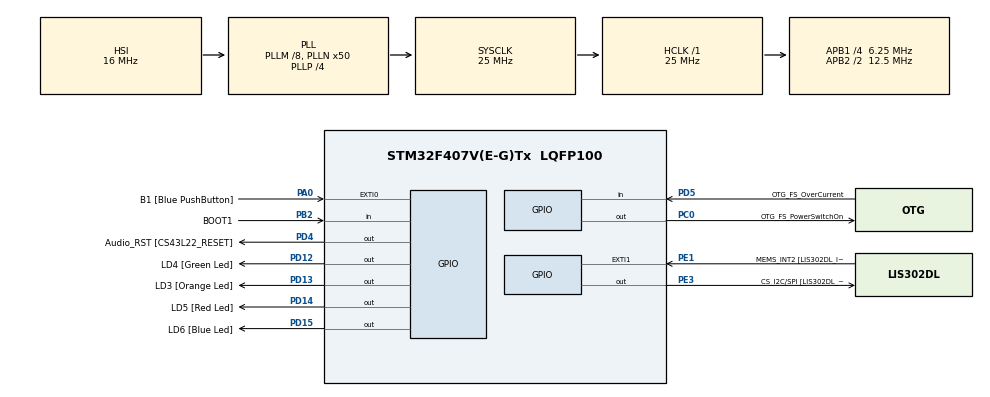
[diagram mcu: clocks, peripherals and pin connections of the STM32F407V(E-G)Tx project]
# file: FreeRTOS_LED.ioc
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Mcu.Family=STM32F4
Mcu.Name=STM32F407V(E-G)Tx
Mcu.Package=LQFP100
NVIC.PriorityGroup=NVIC_PRIORITYGROUP_4
NVIC.TIM5_IRQn=true\:0\:0\:false\:false\:true\:false\:true\:true
NVIC.TimeBase=TIM5_IRQn
NVIC.TimeBaseIP=TIM5
PA0-WKUP.GPIO_Label=B1 [Blue PushButton]
PA0-WKUP.Signal=GPXTI0
PA10.GPIO_Label=OTG_FS_ID
PA10.GPIO_Mode=GPIO_MODE_AF_PP
PA10.GPIO_PuPd=GPIO_NOPULL
PA10.GPIO_Speed=GPIO_SPEED_FREQ_LOW
PA10.Signal=USB_OTG_FS_ID
PA11.GPIO_Label=OTG_FS_DM
PA11.GPIO_Mode=GPIO_MODE_AF_PP
PA11.GPIO_PuPd=GPIO_NOPULL
PA11.GPIO_Speed=GPIO_SPEED_FREQ_LOW
PA11.Signal=USB_OTG_FS_DM
PA12.GPIO_Label=OTG_FS_DP
PA12.GPIO_Mode=GPIO_MODE_AF_PP
PA12.GPIO_PuPd=GPIO_NOPULL
PA12.GPIO_Speed=GPIO_SPEED_FREQ_LOW
PA12.Signal=USB_OTG_FS_DP
PA13.GPIO_Label=SWDIO
PA13.Signal=SYS_JTMS-SWDIO
PA14.GPIO_Label=SWCLK
PA14.Signal=SYS_JTCK-SWCLK
PA4.GPIO_Label=I2S3_WS [CS43L22_LRCK]
PA4.GPIO_Mode=GPIO_MODE_AF_PP
PA4.GPIO_PuPd=GPIO_NOPULL
PA4.GPIO_Speed=GPIO_SPEED_FREQ_LOW
PA4.Signal=I2S3_WS
PA5.GPIO_Label=SPI1_SCK [LIS302DL_SCL/SPC]
PA5.GPIO_Mode=GPIO_MODE_AF_PP
PA5.GPIO_PuPd=GPIO_NOPULL
PA5.GPIO_Speed=GPIO_SPEED_FREQ_LOW
PA5.Signal=SPI1_SCK
PA6.GPIO_Label=SPI1_MISO [LIS302DL_SDO]
PA6.GPIO_Mode=GPIO_MODE_AF_PP
PA6.GPIO_PuPd=GPIO_NOPULL
PA6.GPIO_Speed=GPIO_SPEED_FREQ_LOW
PA6.Signal=SPI1_MISO
PA7.GPIO_Label=SPI1_MOSI [LIS302DL_SDA/SDI/SDO]
PA7.GPIO_Mode=GPIO_MODE_AF_PP
PA7.GPIO_PuPd=GPIO_NOPULL
PA7.GPIO_Speed=GPIO_SPEED_FREQ_LOW
PA7.Signal=SPI1_MOSI
PA9.GPIO_Label=VBUS_FS
PA9.GPIO_Mode=GPIO_MODE_INPUT
PA9.GPIO_PuPd=GPIO_NOPULL
PA9.Signal=USB_OTG_FS_VBUS
PB10.GPIO_Label=CLK_IN [MP45DT02_CLK]
PB10.GPIO_Mode=GPIO_MODE_AF_PP
PB10.GPIO_PuPd=GPIO_NOPULL
PB10.GPIO_Speed=GPIO_SPEED_FREQ_LOW
PB10.Signal=I2S2_CK
PB2.GPIO_Label=BOOT1
PB2.GPIO_Mode=GPIO_MODE_INPUT
PB2.GPIO_PuPd=GPIO_NOPULL
PB2.Signal=GPIO_Input
PB3.GPIO_Label=SWO
PB3.Signal=SYS_JTDO-SWO
PB6.GPIO_Label=Audio_SCL [CS43L22_SCL]
PB6.GPIO_Mode=GPIO_MODE_AF_OD
PB6.GPIO_PuPd=GPIO_NOPULL
PB6.GPIO_Speed=GPIO_SPEED_FREQ_LOW
PB6.Signal=I2C1_SCL
PB9.GPIO_Label=Audio_SDA [CS43L22_SDA]
PB9.GPIO_Mode=GPIO_MODE_AF_OD
PB9.GPIO_PuPd=GPIO_NOPULL
PB9.GPIO_Speed=GPIO_SPEED_FREQ_LOW
PB9.Signal=I2C1_SDA
PC0.GPIO_Label=OTG_FS_PowerSwitchOn
PC0.GPIO_PuPd=GPIO_NOPULL
PC0.GPIO_Speed=GPIO_SPEED_FREQ_LOW
PC0.PinState=GPIO_PIN_SET
PC0.Signal=GPIO_Output
PC10.GPIO_Label=I2S3_SCK [CS43L22_SCLK]
PC10.GPIO_Mode=GPIO_MODE_AF_PP
PC10.GPIO_PuPd=GPIO_NOPULL
PC10.GPIO_Speed=GPIO_SPEED_FREQ_LOW
PC10.Signal=I2S3_CK
PC12.GPIO_Label=I2S3_SD [CS43L22_SDIN]
PC12.GPIO_Mode=GPIO_MODE_AF_PP
PC12.GPIO_PuPd=GPIO_NOPULL
PC12.GPIO_Speed=GPIO_SPEED_FREQ_LOW
PC12.Signal=I2S3_SD
PC14-OSC32_IN.GPIO_Label=PC14-OSC32_IN
PC14-OSC32_IN.Signal=RCC_OSC32_IN
PC15-OSC32_OUT.GPIO_Label=PC15-OSC32_OUT
PC15-OSC32_OUT.Signal=RCC_OSC32_OUT
PC3.GPIO_Label=PDM_OUT [MP45DT02_DOUT]
PC3.GPIO_Mode=GPIO_MODE_AF_PP
PC3.GPIO_PuPd=GPIO_NOPULL
PC3.GPIO_Speed=GPIO_SPEED_FREQ_LOW
PC3.Signal=I2S2_SD
PC7.GPIO_Label=I2S3_MCK [CS43L22_MCLK]
PC7.GPIO_Mode=GPIO_MODE_AF_PP
PC7.GPIO_PuPd=GPIO_NOPULL
PC7.GPIO_Speed=GPIO_SPEED_FREQ_LOW
PC7.Signal=I2S3_MCK
PD12.GPIO_Label=LD4 [Green Led]
PD12.GPIO_PuPd=GPIO_NOPULL
PD12.GPIO_Speed=GPIO_SPEED_FREQ_LOW
PD12.Signal=GPIO_Output
PD13.GPIO_Label=LD3 [Orange Led]
PD13.GPIO_PuPd=GPIO_NOPULL
PD13.GPIO_Speed=GPIO_SPEED_FREQ_LOW
PD13.Signal=GPIO_Output
PD14.GPIO_Label=LD5 [Red Led]
PD14.GPIO_PuPd=GPIO_NOPULL
PD14.GPIO_Speed=GPIO_SPEED_FREQ_LOW
PD14.Signal=GPIO_Output
PD15.GPIO_Label=LD6 [Blue Led]
PD15.GPIO_PuPd=GPIO_NOPULL
PD15.GPIO_Speed=GPIO_SPEED_FREQ_LOW
PD15.Signal=GPIO_Output
PD4.GPIO_Label=Audio_RST [CS43L22_RESET]
PD4.GPIO_PuPd=GPIO_NOPULL
PD4.GPIO_Speed=GPIO_SPEED_FREQ_LOW
PD4.Signal=GPIO_Output
PD5.GPIO_Label=OTG_FS_OverCurrent
PD5.GPIO_Mode=GPIO_MODE_INPUT
PD5.GPIO_PuPd=GPIO_NOPULL
PD5.Signal=GPIO_Input
PE1.GPIO_Label=MEMS_INT2 [LIS302DL_INT2]
PE1.GPIO_ModeDefaultEXTI=GPIO_MODE_EVT_RISING
PE1.GPIO_PuPd=GPIO_NOPULL
PE1.Signal=GPXTI1
PE3.GPIO_Label=CS_I2C/SPI [LIS302DL_CS_I2C/SPI]
PE3.GPIO_PuPd=GPIO_NOPULL
PE3.GPIO_Speed=GPIO_SPEED_FREQ_LOW
PE3.Signal=GPIO_Output
PH0-OSC_IN.GPIO_Label=PH0-OSC_IN
PH0-OSC_IN.Signal=RCC_OSC_IN
PH1-OSC_OUT.GPIO_Label=PH1-OSC_OUT
PH1-OSC_OUT.Signal=RCC_OSC_OUT
ProjectManager.HeapSize=0x200
ProjectManager.StackSize=0x400
ProjectManager.TargetToolchain=STM32CubeIDE
RCC.48MHZClocksFreq_Value=14285714.285714285
RCC.AHBFreq_Value=25000000
RCC.APB1CLKDivider=RCC_HCLK_DIV4
RCC.APB1Freq_Value=6250000
RCC.APB1TimFreq_Value=12500000
RCC.APB2CLKDivider=RCC_HCLK_DIV2
RCC.APB2Freq_Value=12500000
RCC.APB2TimFreq_Value=25000000
RCC.CortexFreq_Value=25000000
RCC.HCLKFreq_Value=25000000
RCC.HSE_VALUE=8000000
RCC.HSI_VALUE=16000000
RCC.LSE_VALUE=32768
RCC.PLLM=8
RCC.PLLN=50
RCC.PLLP=RCC_PLLP_DIV4
RCC.PLLQ=7
RCC.SYSCLKFreq_VALUE=25000000
RCC.SYSCLKSource=RCC_SYSCLKSOURCE_PLLCLK
RCC.VCOOutputFreq_Value=100000000
VP_SYS_VS_tim5.Mode=TIM5
board=STM32F407G-DISC1

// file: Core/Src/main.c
/* USER CODE BEGIN Header */
/**
 ******************************************************************************
 * @file           : main.c
 * @brief          : Main program body
 ******************************************************************************
 * @attention
 *
 * Copyright (c) 2024 STMicroelectronics.
 * All rights reserved.
 *
 * This software is licensed under terms that can be found in the LICENSE file
 * in the root directory of this software component.
 * If no LICENSE file comes with this software, it is provided AS-IS.
 *
 ******************************************************************************
 */
/* USER CODE END Header */
#include "main.h"

/* USER CODE BEGIN Includes */
#include <stdio.h>
#include "FreeRTOS.h"
#include "task.h"

/* USER CODE END Includes */

void SystemClock_Config(void);
static void MX_GPIO_Init(void);

/* USER CODE BEGIN 0 */
static void Green_LED_handler(void *parameters);
static void Orange_LED_handler(void *parameters);
static void Red_LED_handler(void *parameters);
static void Button_handler(void *parameters);

TaskHandle_t Green_LED_handle;
TaskHandle_t Orange_LED_handle;
TaskHandle_t Red_LED_handle;
TaskHandle_t Button_handle;
TaskHandle_t volatile Next_task_handle = NULL;

/* USER CODE END 0 */

int main(void) {
	/* USER CODE BEGIN 1 */

	BaseType_t status;

	/* USER CODE END 1 */

	/* MCU Configuration--------------------------------------------------------*/

	/* Reset of all peripherals, Initializes the Flash interface and the Systick. */
	HAL_Init();

	/* Configure the system clock */
	SystemClock_Config();

	/* Initialize all configured peripherals */
	MX_GPIO_Init();
	/* USER CODE BEGIN 2 */
	SEGGER_SYSVIEW_Conf();
	SEGGER_SYSVIEW_Start();

	status = xTaskCreate(Green_LED_handler, "Green led task", 200, NULL, 2,
			&Green_LED_handle);

	configASSERT(status == pdPASS);
	Next_task_handle = Green_LED_handle;
	status = xTaskCreate(Orange_LED_handler, "Orange led task", 200, NULL, 2,
			&Orange_LED_handle);

	configASSERT(status == pdPASS);
	status = xTaskCreate(Red_LED_handler, "Green led task", 200, NULL, 2,
			&Red_LED_handle);

	configASSERT(status == pdPASS);
	status = xTaskCreate(Button_handler, "Button Task", 200, NULL, 3,
			&Button_handle);
	configASSERT(status == pdPASS);

	vTaskStartScheduler();

	/* USER CODE END 2 */

	/* Infinite loop */
	while (1) {

	}
}

void SystemClock_Config(void) {
	RCC_OscInitTypeDef RCC_OscInitStruct = { 0 };
	RCC_ClkInitTypeDef RCC_ClkInitStruct = { 0 };

	/** Configure the main internal regulator output voltage
	 */
	__HAL_RCC_PWR_CLK_ENABLE();
	__HAL_PWR_VOLTAGESCALING_CONFIG(PWR_REGULATOR_VOLTAGE_SCALE1);

	/** Initializes the RCC Oscillators according to the specified parameters
	 * in the RCC_OscInitTypeDef structure.
	 */
	RCC_OscInitStruct.OscillatorType = RCC_OSCILLATORTYPE_HSI;
	RCC_OscInitStruct.HSIState = RCC_HSI_ON;
	RCC_OscInitStruct.HSICalibrationValue = RCC_HSICALIBRATION_DEFAULT;
	RCC_OscInitStruct.PLL.PLLState = RCC_PLL_ON;
	RCC_OscInitStruct.PLL.PLLSource = RCC_PLLSOURCE_HSI;
	RCC_OscInitStruct.PLL.PLLM = 8;
	RCC_OscInitStruct.PLL.PLLN = 50;
	RCC_OscInitStruct.PLL.PLLP = RCC_PLLP_DIV4;
	RCC_OscInitStruct.PLL.PLLQ = 7;
	if (HAL_RCC_OscConfig(&RCC_OscInitStruct) != HAL_OK) {
		Error_Handler();
	}

	/** Initializes the CPU, AHB and APB buses clocks
	 */
	RCC_ClkInitStruct.ClockType = RCC_CLOCKTYPE_HCLK | RCC_CLOCKTYPE_SYSCLK
			| RCC_CLOCKTYPE_PCLK1 | RCC_CLOCKTYPE_PCLK2;
	RCC_ClkInitStruct.SYSCLKSource = RCC_SYSCLKSOURCE_PLLCLK;
	RCC_ClkInitStruct.AHBCLKDivider = RCC_SYSCLK_DIV1;
	RCC_ClkInitStruct.APB1CLKDivider = RCC_HCLK_DIV4;
	RCC_ClkInitStruct.APB2CLKDivider = RCC_HCLK_DIV2;

	if (HAL_RCC_ClockConfig(&RCC_ClkInitStruct, FLASH_LATENCY_0) != HAL_OK) {
		Error_Handler();
	}
}

static void MX_GPIO_Init(void) {
	GPIO_InitTypeDef GPIO_InitStruct = { 0 };

	/* GPIO Ports Clock Enable */
	__HAL_RCC_GPIOE_CLK_ENABLE();
	__HAL_RCC_GPIOC_CLK_ENABLE();
	__HAL_RCC_GPIOH_CLK_ENABLE();
	__HAL_RCC_GPIOA_CLK_ENABLE();
	__HAL_RCC_GPIOB_CLK_ENABLE();
	__HAL_RCC_GPIOD_CLK_ENABLE();

	/*Configure GPIO pin Output Level */
	HAL_GPIO_WritePin(CS_I2C_SPI_GPIO_Port, CS_I2C_SPI_Pin, GPIO_PIN_RESET);

	/*Configure GPIO pin Output Level */
	HAL_GPIO_WritePin(OTG_FS_PowerSwitchOn_GPIO_Port, OTG_FS_PowerSwitchOn_Pin,
			GPIO_PIN_SET);

	/*Configure GPIO pin Output Level */
	HAL_GPIO_WritePin(GPIOD,
	LD4_Pin | LD3_Pin | LD5_Pin | LD6_Pin | Audio_RST_Pin, GPIO_PIN_RESET);

	/*Configure GPIO pin : CS_I2C_SPI_Pin */
	GPIO_InitStruct.Pin = CS_I2C_SPI_Pin;
	GPIO_InitStruct.Mode = GPIO_MODE_OUTPUT_PP;
	GPIO_InitStruct.Pull = GPIO_NOPULL;
	GPIO_InitStruct.Speed = GPIO_SPEED_FREQ_LOW;
	HAL_GPIO_Init(CS_I2C_SPI_GPIO_Port, &GPIO_InitStruct);

	/*Configure GPIO pin : OTG_FS_PowerSwitchOn_Pin */
	GPIO_InitStruct.Pin = OTG_FS_PowerSwitchOn_Pin;
	GPIO_InitStruct.Mode = GPIO_MODE_OUTPUT_PP;
	GPIO_InitStruct.Pull = GPIO_NOPULL;
	GPIO_InitStruct.Speed = GPIO_SPEED_FREQ_LOW;
	HAL_GPIO_Init(OTG_FS_PowerSwitchOn_GPIO_Port, &GPIO_InitStruct);

	/*Configure GPIO pin : PDM_OUT_Pin */
	GPIO_InitStruct.Pin = PDM_OUT_Pin;
	GPIO_InitStruct.Mode = GPIO_MODE_AF_PP;
	GPIO_InitStruct.Pull = GPIO_NOPULL;
	GPIO_InitStruct.Speed = GPIO_SPEED_FREQ_LOW;
	GPIO_InitStruct.Alternate = GPIO_AF5_SPI2;
	HAL_GPIO_Init(PDM_OUT_GPIO_Port, &GPIO_InitStruct);

	/*Configure GPIO pin : B1_Pin */
	GPIO_InitStruct.Pin = B1_Pin;
	GPIO_InitStruct.Mode = GPIO_MODE_IT_RISING;
	GPIO_InitStruct.Pull = GPIO_NOPULL;
	HAL_GPIO_Init(B1_GPIO_Port, &GPIO_InitStruct);

	/*Configure GPIO pin : I2S3_WS_Pin */
	GPIO_InitStruct.Pin = I2S3_WS_Pin;
	GPIO_InitStruct.Mode = GPIO_MODE_AF_PP;
	GPIO_InitStruct.Pull = GPIO_NOPULL;
	GPIO_InitStruct.Speed = GPIO_SPEED_FREQ_LOW;
	GPIO_InitStruct.Alternate = GPIO_AF6_SPI3;
	HAL_GPIO_Init(I2S3_WS_GPIO_Port, &GPIO_InitStruct);

	/*Configure GPIO pins : SPI1_SCK_Pin SPI1_MISO_Pin SPI1_MOSI_Pin */
	GPIO_InitStruct.Pin = SPI1_SCK_Pin | SPI1_MISO_Pin | SPI1_MOSI_Pin;
	GPIO_InitStruct.Mode = GPIO_MODE_AF_PP;
	GPIO_InitStruct.Pull = GPIO_NOPULL;
	GPIO_InitStruct.Speed = GPIO_SPEED_FREQ_LOW;
	GPIO_InitStruct.Alternate = GPIO_AF5_SPI1;
	HAL_GPIO_Init(GPIOA, &GPIO_InitStruct);

	/*Configure GPIO pin : BOOT1_Pin */
	GPIO_InitStruct.Pin = BOOT1_Pin;
	GPIO_InitStruct.Mode = GPIO_MODE_INPUT;
	GPIO_InitStruct.Pull = GPIO_NOPULL;
	HAL_GPIO_Init(BOOT1_GPIO_Port, &GPIO_InitStruct);

	/*Configure GPIO pin : CLK_IN_Pin */
	GPIO_InitStruct.Pin = CLK_IN_Pin;
	GPIO_InitStruct.Mode = GPIO_MODE_AF_PP;
	GPIO_InitStruct.Pull = GPIO_NOPULL;
	GPIO_InitStruct.Speed = GPIO_SPEED_FREQ_LOW;
	GPIO_InitStruct.Alternate = GPIO_AF5_SPI2;
	HAL_GPIO_Init(CLK_IN_GPIO_Port, &GPIO_InitStruct);

	/*Configure GPIO pins : LD4_Pin LD3_Pin LD5_Pin LD6_Pin
	 Audio_RST_Pin */
	GPIO_InitStruct.Pin = LD4_Pin | LD3_Pin | LD5_Pin | LD6_Pin | Audio_RST_Pin;
	GPIO_InitStruct.Mode = GPIO_MODE_OUTPUT_PP;
	GPIO_InitStruct.Pull = GPIO_NOPULL;
	GPIO_InitStruct.Speed = GPIO_SPEED_FREQ_LOW;
	HAL_GPIO_Init(GPIOD, &GPIO_InitStruct);

	/*Configure GPIO pins : I2S3_MCK_Pin I2S3_SCK_Pin I2S3_SD_Pin */
	GPIO_InitStruct.Pin = I2S3_MCK_Pin | I2S3_SCK_Pin | I2S3_SD_Pin;
	GPIO_InitStruct.Mode = GPIO_MODE_AF_PP;
	GPIO_InitStruct.Pull = GPIO_NOPULL;
	GPIO_InitStruct.Speed = GPIO_SPEED_FREQ_LOW;
	GPIO_InitStruct.Alternate = GPIO_AF6_SPI3;
	HAL_GPIO_Init(GPIOC, &GPIO_InitStruct);

	/*Configure GPIO pin : VBUS_FS_Pin */
	GPIO_InitStruct.Pin = VBUS_FS_Pin;
	GPIO_InitStruct.Mode = GPIO_MODE_INPUT;
	GPIO_InitStruct.Pull = GPIO_NOPULL;
	HAL_GPIO_Init(VBUS_FS_GPIO_Port, &GPIO_InitStruct);

	/*Configure GPIO pins : OTG_FS_ID_Pin OTG_FS_DM_Pin OTG_FS_DP_Pin */
	GPIO_InitStruct.Pin = OTG_FS_ID_Pin | OTG_FS_DM_Pin | OTG_FS_DP_Pin;
	GPIO_InitStruct.Mode = GPIO_MODE_AF_PP;
	GPIO_InitStruct.Pull = GPIO_NOPULL;
	GPIO_InitStruct.Speed = GPIO_SPEED_FREQ_LOW;
	GPIO_InitStruct.Alternate = GPIO_AF10_OTG_FS;
	HAL_GPIO_Init(GPIOA, &GPIO_InitStruct);

	/*Configure GPIO pin : OTG_FS_OverCurrent_Pin */
	GPIO_InitStruct.Pin = OTG_FS_OverCurrent_Pin;
	GPIO_InitStruct.Mode = GPIO_MODE_INPUT;
	GPIO_InitStruct.Pull = GPIO_NOPULL;
	HAL_GPIO_Init(OTG_FS_OverCurrent_GPIO_Port, &GPIO_InitStruct);

	/*Configure GPIO pins : Audio_SCL_Pin Audio_SDA_Pin */
	GPIO_InitStruct.Pin = Audio_SCL_Pin | Audio_SDA_Pin;
	GPIO_InitStruct.Mode = GPIO_MODE_AF_OD;
	GPIO_InitStruct.Pull = GPIO_NOPULL;
	GPIO_InitStruct.Speed = GPIO_SPEED_FREQ_LOW;
	GPIO_InitStruct.Alternate = GPIO_AF4_I2C1;
	HAL_GPIO_Init(GPIOB, &GPIO_InitStruct);

	/*Configure GPIO pin : MEMS_INT2_Pin */
	GPIO_InitStruct.Pin = MEMS_INT2_Pin;
	GPIO_InitStruct.Mode = GPIO_MODE_EVT_RISING;
	GPIO_InitStruct.Pull = GPIO_NOPULL;
	HAL_GPIO_Init(MEMS_INT2_GPIO_Port, &GPIO_InitStruct);

}

/* USER CODE BEGIN 4 */
static void Green_LED_handler(void *parameters) {
	//TickType_t xlastwakeuptime;
	//const TickType_t frequency = 1000;
	//xlastwakeuptime = xTaskGetTickCount();

	BaseType_t status;
	while (1) {
		SEGGER_SYSVIEW_PrintfTarget("Green LED TASK");
		HAL_GPIO_TogglePin(GPIOD, LED_Green_Pin);
		//vTaskDelayUntil(&xlastwakeuptime,frequency);
		status = xTaskNotifyWait(0, 0, NULL, pdMS_TO_TICKS(1000));
		if (status == pdTRUE) {
			vTaskSuspendAll();
			Next_task_handle = Orange_LED_handle;
			xTaskResumeAll();
			HAL_GPIO_WritePin(GPIOD, LED_Green_Pin, GPIO_PIN_RESET);
			SEGGER_SYSVIEW_PrintfTarget("Deleting Green LED TASK");
			vTaskDelete(NULL);
		}

		//vTaskDelay(pdMS_TO_TICKS(1000));

	}
}

static void Orange_LED_handler(void *parameters) {
	//TickType_t xlastwakeuptime;
	//const TickType_t frequency = 800;
	//xlastwakeuptime = xTaskGetTickCount();
	BaseType_t status;
	while (1) {
		SEGGER_SYSVIEW_PrintfTarget("Orange LED TASK");
		HAL_GPIO_TogglePin(GPIOD, LED_Orange_Pin);

		status = xTaskNotifyWait(0, 0, NULL, pdMS_TO_TICKS(800));
		if (status == pdTRUE) {
			vTaskSuspendAll();
			Next_task_handle = Red_LED_handle;
			xTaskResumeAll();
			HAL_GPIO_WritePin(GPIOD, LED_Orange_Pin, GPIO_PIN_RESET);
			SEGGER_SYSVIEW_PrintfTarget("Deleting Orange LED TASK");
			vTaskDelete(NULL);
		}
	}
}
static void Red_LED_handler(void *parameters) {
	//TickType_t xlastwakeuptime;
	//const TickType_t frequency = 400;

	BaseType_t status;
	while (1) {
		SEGGER_SYSVIEW_PrintfTarget("Orange LED TASK");
		HAL_GPIO_TogglePin(GPIOD, LED_Red_Pin);

		status = xTaskNotifyWait(0, 0, NULL, pdMS_TO_TICKS(400));
		if (status == pdTRUE) {
			vTaskSuspendAll();
			Next_task_handle = NULL;
			xTaskResumeAll();
			HAL_GPIO_WritePin(GPIOD, LED_Red_Pin, GPIO_PIN_RESET);
			SEGGER_SYSVIEW_PrintfTarget("Deleting Red LED TASK");
			vTaskDelete(NULL);
		}

	}
}
static void Button_handler(void *parameters) {
	uint8_t button_read = 0;
	uint8_t previous_read = 0;
	while (1) {
		button_read = HAL_GPIO_ReadPin(GPIOA, GPIO_PIN_0);
		if (button_read) {
			if (!previous_read) {
				xTaskNotify(Next_task_handle, 0, eNoAction);

			}
		}
		previous_read = button_read;
		vTaskDelay(pdMS_TO_TICKS(10));

	}

}

/* USER CODE END 4 */

void Error_Handler(void) {
	__disable_irq();
	while (1) {
	}
}
